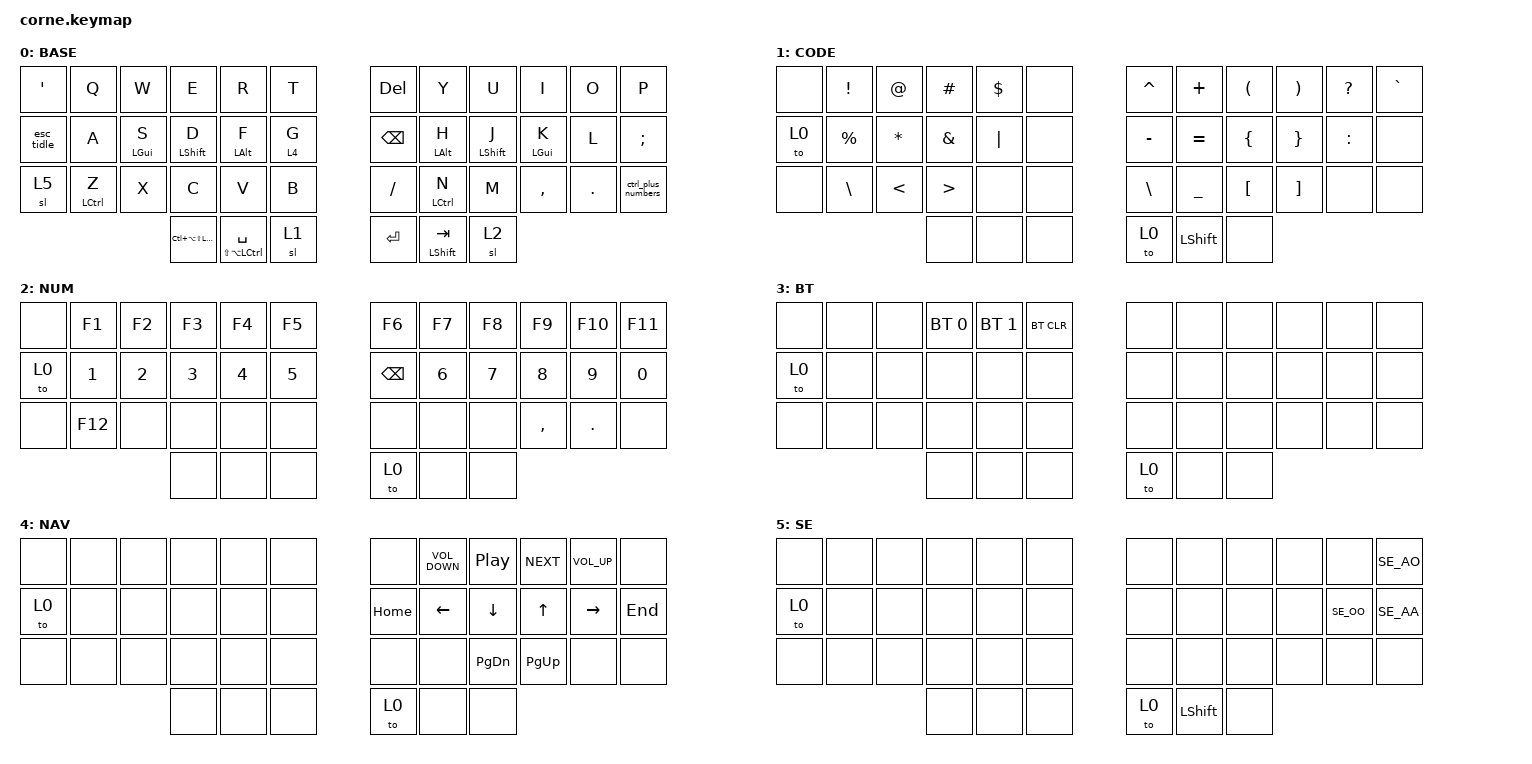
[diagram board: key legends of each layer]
/*
 * Copyright (c) 2020 The ZMK Contributors
 *
 * SPDX-License-Identifier: MIT
 */

#include <behaviors.dtsi>
#include <dt-bindings/zmk/bt.h>
#include <dt-bindings/zmk/keys.h>

/ {
    behaviors {
        hrm: home_row_mods {
            compatible = "zmk,behavior-hold-tap";
            label = "home_row_mods";
            bindings = <&kp>, <&kp>;

            #binding-cells = <2>;
            tapping-term-ms = <210>;
            quick-tap-ms = <210>;
            flavor = "tap-preferred";
        };

        hrl: home_row_layer {
            compatible = "zmk,behavior-hold-tap";
            label = "home_row_layer";
            bindings = <&mo>, <&kp>;

            #binding-cells = <2>;
            tapping-term-ms = <210>;
            quick-tap-ms = <210>;
            flavor = "tap-preferred";
        };

        SE_AO: SE_AO {
            compatible = "zmk,behavior-mod-morph";
            label = "å";
            bindings = <&SE_AO_LOWERCASE>, <&SE_AO_UPPERCASE>;

            #binding-cells = <0>;
            mods = <(MOD_LSFT)>;
        };

        SE_AA: SE_AA {
            compatible = "zmk,behavior-mod-morph";
            label = "ä";
            bindings = <&SE_AA_LOWERCASE>, <&SE_AA_UPPERCASE>;

            #binding-cells = <0>;
            mods = <(MOD_LSFT)>;
        };

        SE_OO: SE_OO {
            compatible = "zmk,behavior-mod-morph";
            label = "ö";
            bindings = <&SE_OO_LOWERCASE>, <&SE_OO_UPPERCASE>;

            #binding-cells = <0>;
            mods = <(MOD_LSFT)>;
        };

        esc_tidle: esc_tidle {
            compatible = "zmk,behavior-mod-morph";
            label = "ESC_TIDLE";
            bindings = <&kp ESC>, <&kp TILDE>;

            #binding-cells = <0>;
            mods = <(MOD_LSFT)>;
        };
    };

    macros {
        SE_AO_LOWERCASE: SE_AO {
            compatible = "zmk,behavior-macro";
            #binding-cells = <0>;
            bindings =
                <&macro_tap>,
                <&kp LS(LA(LC(LG(SPACE))))>,
                <&macro_tap>,
                <&kp LEFT_BRACKET>,
                <&macro_tap>,
                <&kp LS(LA(LC(LG(SPACE))))>,
                <&macro_tap>;

            label = "SE_AO";
        };

        SE_AO_UPPERCASE: SE_AO_UPPERCASE {
            compatible = "zmk,behavior-macro";
            #binding-cells = <0>;
            bindings =
                <&macro_tap>,
                <&kp LS(LA(LC(LG(SPACE))))>,
                <&macro_tap>,
                <&kp LS(LEFT_BRACKET)>,
                <&macro_tap>,
                <&kp LS(LA(LC(LG(SPACE))))>,
                <&macro_tap>;

            label = "SE_AO_UPPERCASE";
        };

        SE_AA_LOWERCASE: SE_AA_LOWERCASE {
            compatible = "zmk,behavior-macro";
            #binding-cells = <0>;
            bindings =
                <&macro_tap>,
                <&kp LS(LA(LC(LG(SPACE))))>,
                <&macro_tap>,
                <&kp SQT>,
                <&macro_tap>,
                <&kp LS(LA(LC(LG(SPACE))))>,
                <&macro_tap>;

            label = "SE_AA_LOWERCASE";
        };

        SE_AA_UPPERCASE: SE_AA_UPPERCASE {
            compatible = "zmk,behavior-macro";
            #binding-cells = <0>;
            bindings =
                <&macro_tap>,
                <&kp LS(LA(LC(LG(SPACE))))>,
                <&macro_tap>,
                <&kp LS(SQT)>,
                <&macro_tap>,
                <&kp LS(LA(LC(LG(SPACE))))>,
                <&macro_tap>;

            label = "SE_AA_UPPERCASE";
        };

        SE_OO_LOWERCASE: SE_OO_LOWERCASE {
            compatible = "zmk,behavior-macro";
            #binding-cells = <0>;
            bindings =
                <&macro_tap>,
                <&kp LS(LA(LC(LG(SPACE))))>,
                <&macro_tap>,
                <&kp SEMICOLON>,
                <&macro_tap>,
                <&kp LS(LA(LC(LG(SPACE))))>,
                <&macro_tap>;

            label = "SE_OO_LOWERCASE";
        };

        SE_OO_UPPERCASE: SE_OO_UPPERCASE {
            compatible = "zmk,behavior-macro";
            #binding-cells = <0>;
            bindings =
                <&macro_tap>,
                <&kp LS(LA(LC(LG(SPACE))))>,
                <&macro_tap>,
                <&kp LS(SEMICOLON)>,
                <&macro_tap>,
                <&kp LS(LA(LC(LG(SPACE))))>,
                <&macro_tap>;

            label = "SE_OO_UPPERCASE";
        };

        ctrl_plus_numbers: ctrl_plus_numbers {
            compatible = "zmk,behavior-macro";
            #binding-cells = <0>;
            bindings =
                <&macro_press>,
                <&kp LCTRL &mo 2>,
                <&macro_pause_for_release>,
                <&macro_release>,
                <&kp LCTRL &mo 2>;

            label = "CTRL_PLUS_NUMBERS";
            wait-ms = <0>;
            tap-ms = <0>;
        };
    };

    keymap {
        compatible = "zmk,keymap";

        BASE {
            // -----------------------------------------------------------------------------------------
            // |  TAB |  Q  |  W  |  E  |  R  |  T  |   |  Y  |  U   |  I  |  O  |  P  | BSPC |
            // | CTRL |  A  |  S  |  D  |  F  |  G  |   |  H  |  J   |  K  |  L  |  ;  |  '   |
            // | SHFT |  Z  |  X  |  C  |  V  |  B  |   |  N  |  M   |  ,  |  .  |  /  | ESC  |
            //                    | GUI | LWR | SPC |   | ENT | RSE  | ALT |

            bindings = <
&kp SINGLE_QUOTE  &kp Q         &kp W        &kp E                 &kp R                     &kp T       &kp DELETE  &kp Y            &kp U          &kp I        &kp O    &kp P
&esc_tidle        &kp A         &hrm LGUI S  &hrm LSHIFT D         &hrm LEFT_ALT F           &hrl 4 G    &kp BSPC    &hrm LEFT_ALT H  &hrm LSHIFT J  &hrm LGUI K  &kp L    &kp SEMI
&sl 5             &hrm LCTRL Z  &kp X        &kp C                 &kp V                     &kp B       &kp FSLH    &hrm LCTRL N     &kp M          &kp COMMA    &kp DOT  &ctrl_plus_numbers
                                             &kp LC(LA(LS(LGUI)))  &hrm LS(LA(LCTRL)) SPACE  &sl 1       &kp RET     &hrm LSHIFT TAB  &sl 2
            >;

            label = "BASE";
        };

        CODE {
            // -----------------------------------------------------------------------------------------
            // |  TAB |  !  |  @  |  #  |  $  |  %  |   |  ^  |  &  |  *  |  (  |  )  | BSPC |
            // | CTRL |     |     |     |     |     |   |  -  |  =  |  [  |  ]  |  \  |  `   |
            // | SHFT |     |     |     |     |     |   |  _  |  +  |  {  |  }  | "|" |  ~   |
            //                    | GUI |     | SPC |   | ENT |     | ALT |

            bindings = <
&none  &kp EXCL     &kp AT        &kp HASH       &kp DLLR  &none    &kp CARET  &kp PLUS        &kp LPAR  &kp RPAR  &kp QUESTION  &kp GRAVE
&to 0  &kp PERCENT  &kp ASTERISK  &kp AMPERSAND  &kp PIPE  &none    &kp MINUS  &kp EQUAL       &kp LBRC  &kp RBRC  &kp COLON     &none
&none  &kp BSLH     &kp LT        &kp GT         &none     &none    &kp BSLH   &kp UNDERSCORE  &kp LBKT  &kp RBKT  &none         &none
                                  &none          &none     &none    &to 0      &kp LSHFT       &none
            >;

            label = "CODE";
        };

        NUM {
            bindings = <
&none  &kp F1   &kp F2  &kp F3  &kp F4  &kp F5    &kp F6    &kp F7  &kp F8  &kp F9     &kp F10  &kp F11
&to 0  &kp N1   &kp N2  &kp N3  &kp N4  &kp N5    &kp BSPC  &kp N6  &kp N7  &kp N8     &kp N9   &kp N0
&none  &kp F12  &none   &none   &none   &none     &none     &none   &none   &kp COMMA  &kp DOT  &none
                        &none   &none   &none     &to 0     &none   &none
            >;

            label = "NUM";
        };

        BT {
            bindings = <
&none  &none  &none  &bt BT_SEL 0  &bt BT_SEL 1  &bt BT_CLR    &none  &none  &none  &none  &none  &none
&to 0  &none  &none  &none         &none         &none         &none  &none  &none  &none  &none  &none
&none  &none  &none  &none         &none         &none         &none  &none  &none  &none  &none  &none
                     &none         &none         &none         &to 0  &none  &none
            >;

            label = "BT";
        };

        NAV {
            bindings = <
&none  &none  &none  &none  &none  &none    &none     &kp C_VOLUME_DOWN  &kp C_PLAY_PAUSE  &kp C_NEXT   &kp C_VOLUME_UP  &none
&to 0  &none  &none  &none  &none  &none    &kp HOME  &kp LEFT           &kp DOWN          &kp UP       &kp RIGHT        &kp END
&none  &none  &none  &none  &none  &none    &none     &none              &kp PAGE_DOWN     &kp PAGE_UP  &none            &none
                     &none  &none  &none    &to 0     &none              &none
            >;

            label = "NAV";
        };

        SE {
            label = "SE";
            bindings = <
&none  &none  &none  &none  &none  &none    &none  &none      &none  &none  &none   &SE_AO
&to 0  &none  &none  &none  &none  &none    &none  &none      &none  &none  &SE_OO  &SE_AA
&none  &none  &none  &none  &none  &none    &none  &none      &none  &none  &none   &none
                     &none  &none  &none    &to 0  &kp LSHFT  &none
            >;
        };
    };
};
